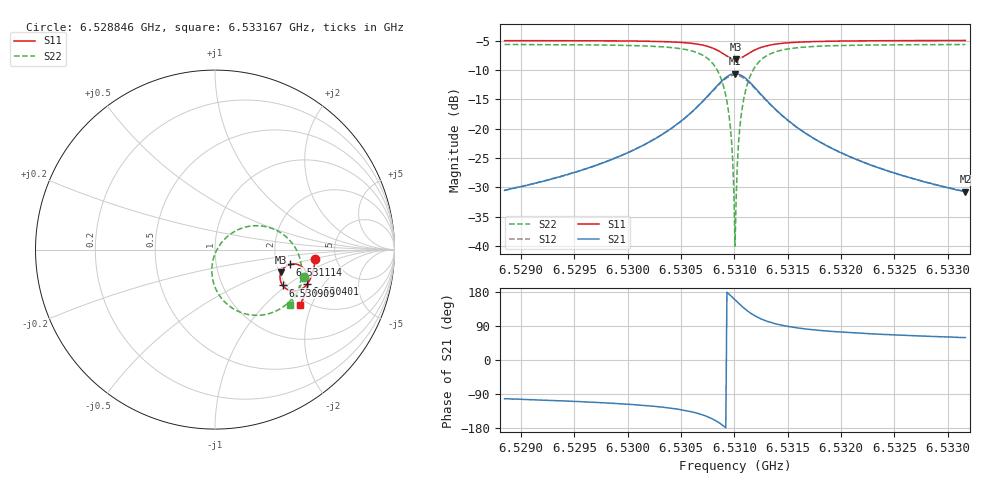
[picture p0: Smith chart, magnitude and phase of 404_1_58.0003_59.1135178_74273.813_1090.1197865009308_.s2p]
#  HZ  S  RI  R  50.00
! Rohde & Schwarz Vector Network Analyzer
! Rohde-Schwarz,ZNB20-2Port,1311601062101988,3.16
! Created: UTC 3/21/2024, 1:08:21 AM
! freq[Hz]  re:S11  im:S11  re:S21  im:S21  re:S12  im:S12  re:S22  im:S22
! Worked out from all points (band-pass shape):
!   401 points, 6.528846 GHz to 6.533167 GHz, reference 50 ohm
!   highest |S21| = -10.63 dB at 6.531006 GHz (marker M1); lowest = -30.8 dB at 6.533167 GHz (marker M2)
!   |S21| within 3 dB of the highest: 6.530792 GHz to 6.531224 GHz (432 kHz wide, 0.00661 % of centre)
!   lowest |S11| = -8.2 dB at 6.531017 GHz (marker M3), VSWR 2.27, Z = 102 - j30.4 ohm
!   |S11| at or under -10 dB: nowhere
!   |S22| runs from -40.0 to -5.7 dB; largest |S21 - S12| = 0.011
!   S11 on the Smith chart (normalised r, x): 6.528846 GHz: 3.48, -0.51; 6.530401 GHz: 2.55, -1.41; 6.530909 GHz: 1.91, -0.93; 6.531114 GHz: 2.37, -0.48; 6.533167 GHz: 1.82, -1.65
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6.5288456e9  0.559 -0.0502  -0.00639 -0.0291  -0.00686 -0.0291  0.4974 -0.1528
6.5295695e9  0.5494 -0.1098  -0.0154 -0.0416  -0.0162 -0.0414  0.468 -0.2193
6.5302933e9  0.522 -0.1801  -0.0474 -0.0715  -0.0492 -0.0703  0.3905 -0.3115
6.5304013e9  0.513 -0.1928  -0.0598 -0.0793  -0.062 -0.0777  0.364 -0.3296
6.5307471e9  0.4464 -0.2308  -0.1618 -0.0955  -0.164 -0.0891  0.1711 -0.3586
6.5308443e9  0.4059 -0.2235  -0.2249 -0.0672  -0.2239 -0.0582  0.0649 -0.3018
6.5309091e9  0.3773 -0.1999  -0.267 -0.017  -0.262 -0.00776  0.000835 -0.2109
6.5309523e9  0.3647 -0.1735  -0.2827 0.0335  -0.2749 0.0411  -0.0176 -0.1242
6.5309739e9  0.3625 -0.158  -0.2837 0.0623  -0.2747 0.0685  -0.0147 -0.0766
6.5309847e9  0.3626 -0.1498  -0.282 0.0771  -0.2725 0.0824  -0.00967 -0.0528
6.5309955e9  0.3636 -0.1419  -0.2789 0.0916  -0.2691 0.096  -0.00211 -0.0292
6.5310064e9  0.3655 -0.1338  -0.2742 0.1059  -0.2643 0.1094  0.00772 -0.00631
6.5310172e9  0.3681 -0.1261  -0.2683 0.1196  -0.2582 0.1222  0.0198 0.0153
6.531028e9  0.3716 -0.1188  -0.2608 0.1326  -0.251 0.1344  0.0337 0.0356
6.5310388e9  0.376 -0.112  -0.2525 0.1448  -0.2428 0.1459  0.0495 0.0541
6.5310604e9  0.3863 -0.1  -0.2327 0.166  -0.2237 0.1654  0.0855 0.0858
6.5311144e9  0.4178 -0.0824  -0.1749 0.1975  -0.1686 0.1949  0.186 0.1291
6.53119e9  0.459 -0.0827  -0.1026 0.2002  -0.0994 0.1975  0.3083 0.1212
6.531298e9  0.4948 -0.1046  -0.0399 0.171  -0.0384 0.1695  0.4108 0.0579
6.5317302e9  0.5192 -0.1835  0.0145 0.0829  0.0155 0.0825  0.483 -0.1282
6.532454e9  0.4993 -0.2556  0.0168 0.0395  0.0178 0.0394  0.4555 -0.2443
6.5331671e9  0.4716 -0.308  0.0148 0.0249  0.0154 0.0247  0.4204 -0.3061
